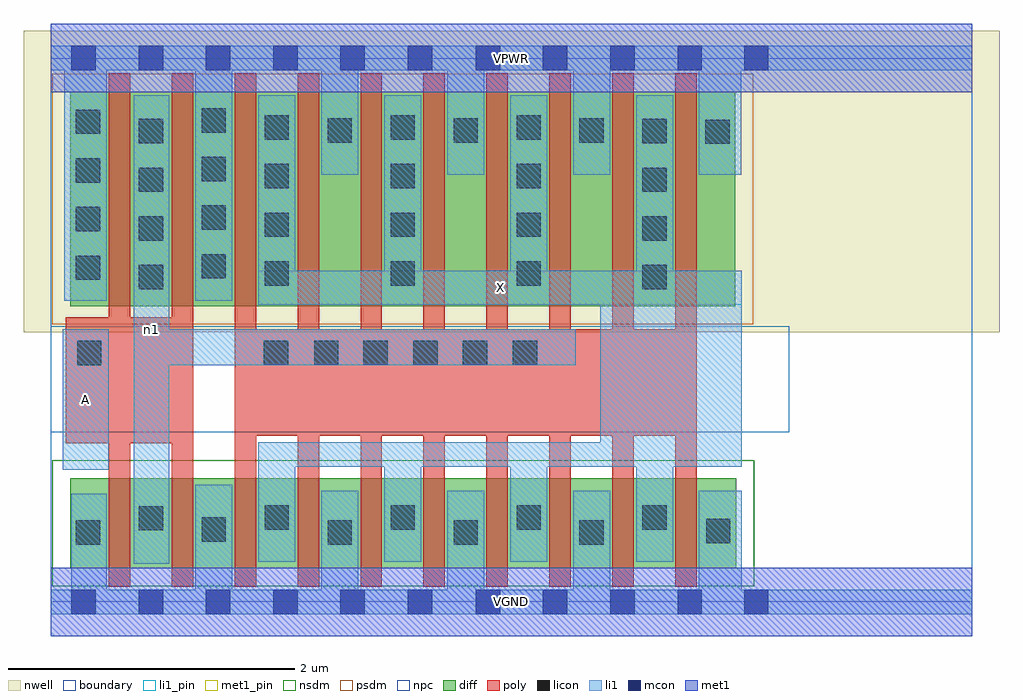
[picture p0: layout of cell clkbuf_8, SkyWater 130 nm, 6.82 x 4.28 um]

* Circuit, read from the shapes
.subckt clkbuf_8 A VGND VPWR X n1
XM1 n1 A VGND VSUBS sky130_fd_pr__nfet_01v8 w=0.63 l=0.15 m=2
XM2 X n1 VGND VSUBS sky130_fd_pr__nfet_01v8 w=0.63 l=0.15 m=8
XM3 n1 A VPWR n2 sky130_fd_pr__pfet_01v8 w=1.5 l=0.15 m=2
XM4 X n1 VPWR n2 sky130_fd_pr__pfet_01v8 w=1.5 l=0.15 m=8
.ends

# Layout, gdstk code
import gdstk
lib = gdstk.Library(unit=1e-6, precision=1e-09)
def R(c, l, rs):  # rectangles x0, y0, x1, y1
    for r in rs: c.add(gdstk.rectangle(r[:2], r[2:], *l))
def A(c, l, x, y, w, h, nx, ny, dx, dy):  # array of equal rectangles
    R(c, l, [(x+i*dx, y+j*dy, x+i*dx+w, y+j*dy+h) for i in range(nx) for j in range(ny)])
nwell = (64, 20)
diff = (65, 20)
poly = (66, 20)
licon = (66, 44)
li1_pin = (67, 16)
li1 = (67, 20)
mcon = (67, 44)
met1_pin = (68, 16)
met1 = (68, 20)
nsdm = (93, 44)
psdm = (94, 20)
npc = (95, 20)
boundary = (235, 4)

clkbuf_8 = lib.new_cell('clkbuf_8')
R(clkbuf_8, nwell, [(-0.19,1.885,6.63,3.99), (0,1.885,6.44,3.99)])
R(clkbuf_8, diff, [(0.135,0.235,4.79,0.865), (0.135,2.065,4.785,3.565)])
A(clkbuf_8, poly, 0.405, 0.105, 0.15, 3.59, 10, 1, 0.44, 0)
R(clkbuf_8, poly, [(0.105,1.11,0.995,1.99), (1.285,1.16,4.515,1.905)])
A(clkbuf_8, licon, 1.935, 0.4, 0.17, 0.17, 3, 2, 0.88, 2.81)
A(clkbuf_8, licon, 1.495, 0.505, 0.17, 0.17, 4, 1, 0.88, 0)
A(clkbuf_8, licon, 0.615, 2.185, 0.17, 0.17, 1, 4, 0, 0.34)
A(clkbuf_8, licon, 4.135, 2.185, 0.17, 0.17, 1, 4, 0, 0.34)
A(clkbuf_8, licon, 1.495, 2.21, 0.17, 0.17, 3, 4, 0.88, 0.34)
A(clkbuf_8, licon, 0.175, 2.25, 0.17, 0.17, 1, 4, 0, 0.34)
A(clkbuf_8, licon, 1.055, 2.26, 0.17, 0.17, 1, 4, 0, 0.34)
R(clkbuf_8, licon, [(0.175,0.4,0.345,0.57), (4.58,0.41,4.75,0.58), (1.055,0.42,1.225,0.59), (0.615,0.5,0.785,0.67), (0.185,1.655,0.355,1.825), (1.49,1.655,1.66,1.825), (1.84,1.655,2.01,1.825), (2.185,1.655,2.355,1.825), (2.535,1.655,2.705,1.825), (2.88,1.655,3.05,1.825), (3.23,1.655,3.4,1.825), (4.575,3.2,4.745,3.37)])
R(clkbuf_8, li1_pin, [(0.085,0.925,0.405,1.905), (1.45,2.075,4.83,2.315)])
A(clkbuf_8, li1, 1.89, -0.085, 0.26, 0.86, 3, 1, 0.88, 0)
A(clkbuf_8, li1, 1.45, 0.28, 0.26, 0.835, 3, 1, 0.88, 0)
A(clkbuf_8, li1, 1.45, 2.075, 0.26, 1.465, 3, 1, 0.88, 0)
A(clkbuf_8, li1, 1.89, 2.985, 0.26, 0.9, 3, 1, 0.88, 0)
R(clkbuf_8, li1, [(0,-0.085,6.44,0.085), (0.145,-0.085,0.39,0.755), (1.01,-0.085,1.27,0.82), (4.53,-0.085,4.83,0.775), (0.58,0.265,0.83,3.54), (4.09,0.28,4.35,3.54), (0.085,0.925,0.405,1.905), (1.45,0.945,4.83,1.115), (3.84,0.945,4.83,2.315), (0.58,1.655,3.67,1.905), (1.45,2.075,4.83,2.315), (0.095,2.105,0.39,3.885), (1.01,2.105,1.27,3.885), (4.53,2.985,4.825,3.885), (0,3.715,6.44,3.885)])
A(clkbuf_8, mcon, 0.145, -0.085, 0.17, 0.17, 6, 2, 0.47, 3.8)
A(clkbuf_8, mcon, 2.97, -0.085, 0.17, 0.17, 4, 2, 0.47, 3.8)
R(clkbuf_8, mcon, [(4.845,-0.085,5.015,0.085), (4.845,3.715,5.015,3.885)])
R(clkbuf_8, met1_pin, [(0,-0.24,6.44,0.24), (0,3.56,6.44,4.04)])
R(clkbuf_8, met1, [(0,-0.24,6.44,0.24), (0,3.56,6.44,4.04)])
R(clkbuf_8, nsdm, [(0.01,0.11,4.915,0.99)])
R(clkbuf_8, psdm, [(0.01,1.94,4.91,3.69)])
R(clkbuf_8, npc, [(0,1.185,5.16,1.925)])
R(clkbuf_8, boundary, [(0,0,6.44,3.8)])
clkbuf_8.add(gdstk.Label('A', (0.245,1.415), layer=67, texttype=5))
clkbuf_8.add(gdstk.Label('X', (3.14,2.195), layer=67, texttype=5))
clkbuf_8.add(gdstk.Label('n1', (0.705,1.902), layer=67, texttype=5))
clkbuf_8.add(gdstk.Label('VPWR', (3.22,3.8), layer=68, texttype=5))
clkbuf_8.add(gdstk.Label('VGND', (3.22,0), layer=68, texttype=5))
clkbuf_8.add(gdstk.Label('A', (0.245,1.415), layer=67, texttype=16))
clkbuf_8.add(gdstk.Label('X', (3.14,2.195), layer=67, texttype=16))
clkbuf_8.add(gdstk.Label('VPWR', (3.22,3.8), layer=68, texttype=16))
clkbuf_8.add(gdstk.Label('VGND', (3.22,0), layer=68, texttype=16))

lib.write_gds('clkbuf_8.gds')
